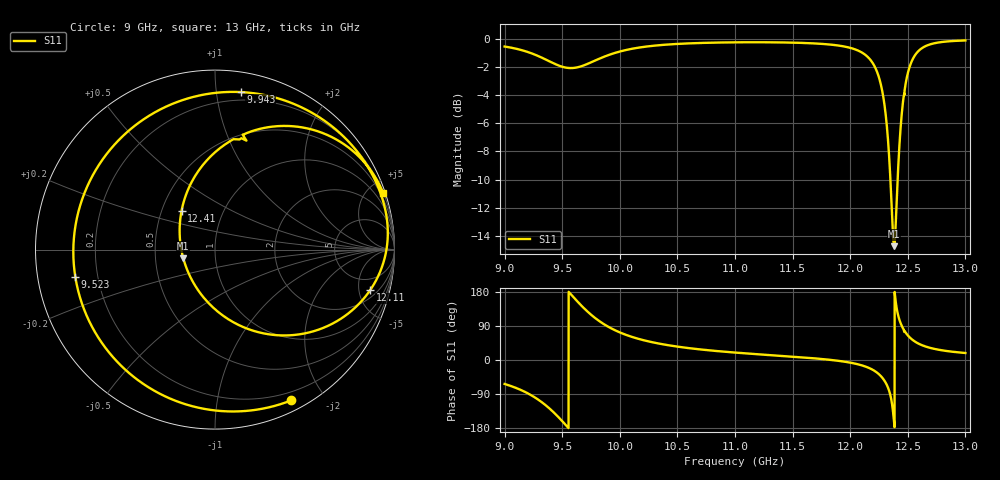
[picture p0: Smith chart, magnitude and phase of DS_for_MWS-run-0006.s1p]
! TOUCHSTONE file generated by CST DESIGN STUDIO
! Date and time: Tue Feb  4 13:42:06 2025
! Project name: C:\Work\MatlabApps\UnitCellOptimizationMatlab\CST\unitcell.cst
! Tree item: Tasks\Sweep1\SPara1\S-Parameters
! Header version: 2024
! Port assignment regex: !\s*Touchstone port\s*([0-9]+)\s*=\s*(CST MWS port|CST DES external port|CST DES block port)\s*(.+)\s* \(\"(.*)\"\)(\s*mode\s*([0-9]+))?.*
! Touchstone port assignment:
! Touchstone port 1 = CST DES external port 1 ("")
# GHz S MA R 50
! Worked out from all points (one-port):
!   4001 points, 9 GHz to 13 GHz, reference 50 ohm
!   lowest |S11| = -14.7 dB at 12.38 GHz (marker M1), VSWR 1.45, Z = 34.9 - j3.53 ohm
!   |S11| at or under -10 dB: 12.35 GHz to 12.41 GHz (62.62 MHz wide, 0.506 % of centre)
!   S11 on the Smith chart (normalised r, x): 9 GHz: 0.11, -1.62; 9.523 GHz: 0.12, -0.10; 9.943 GHz: 0.14, +1.17; 12.11 GHz: 2.90, -6.49; 12.41 GHz: 0.63, +0.30; 13 GHz: 0.21, +6.14
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9  0.9412 -63.2
9.144  0.9146 -79.5
9.294  0.8698 -105.1
9.396  0.8309 -129.7
9.5  0.7975 -161.3
9.523  0.793 -168.9
9.618  0.7915 159.0
9.733  0.8207 124.1
9.829  0.8541 101.2
9.943  0.8892 80.8
10  0.9033 72.8
10.216  0.9393 51.5
10.5  0.9614 35.3
11  0.974 19.6
11.5  0.9716 8.8
12  0.9311 -7.0
12.107  0.8933 -14.7
12.218  0.7906 -30.0
12.298  0.5818 -54.9
12.34  0.3702 -83.2
12.367  0.218 -124.3
12.381  0.1831 -164.5
12.407  0.286 130.6
12.449  0.5494 89.1
12.5  0.7558 65.0
12.57  0.8851 47.1
12.661  0.947 34.9
13  0.9892 18.5
